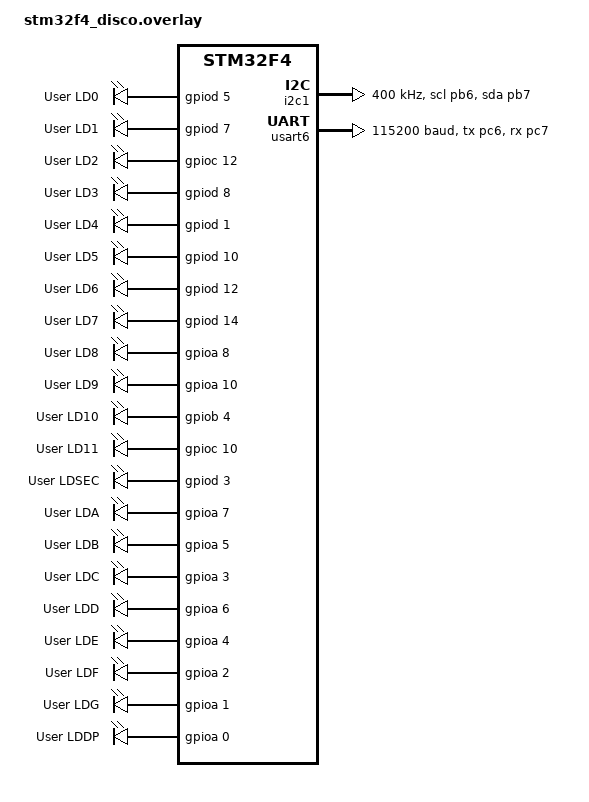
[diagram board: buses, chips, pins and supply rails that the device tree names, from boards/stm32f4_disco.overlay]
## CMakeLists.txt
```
# SPDX-License-Identifier: Apache-2.0

cmake_minimum_required(VERSION 3.20.0)
find_package(Zephyr REQUIRED HINTS $ENV{ZEPHYR_BASE})
project(traffic)

target_sources(app PRIVATE src/main.c)
```

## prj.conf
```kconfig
CONFIG_GPIO=y
CONFIG_COUNTER=y
CONFIG_I2C=y
CONFIG_STDOUT_CONSOLE=y
CONFIG_PRINTK=y
CONFIG_SHELL=y
```

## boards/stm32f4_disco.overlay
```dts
/ {
	chosen {
		zephyr,console = &usart6;
		zephyr,shell-uart = &usart6;
	};

	leds {
		led_0: led_0 {
			gpios = <&gpiod 5 GPIO_ACTIVE_HIGH>;
			label = "User LD0";
		};

		led_1: led_1 {
			gpios = <&gpiod 7 GPIO_ACTIVE_HIGH>;
			label = "User LD1";
		};

		led_2: led_2 {
			gpios = <&gpioc 12 GPIO_ACTIVE_HIGH>;
			label = "User LD2";
		};

		led_3: led_3 {
			gpios = <&gpiod 8 GPIO_ACTIVE_HIGH>;
			label = "User LD3";
		};

		led_4: led_4 {
			gpios = <&gpiod 1 GPIO_ACTIVE_HIGH>;
			label = "User LD4";
		};

		led_5: led_5 {
			gpios = <&gpiod 10 GPIO_ACTIVE_HIGH>;
			label = "User LD5";
		};

		led_6: led_6 {
			gpios = <&gpiod 12 GPIO_ACTIVE_HIGH>;
			label = "User LD6";
		};

		led_7: led_7 {
			gpios = <&gpiod 14 GPIO_ACTIVE_HIGH>;
			label = "User LD7";
		};

		led_8: led_8 {
			gpios = <&gpioa 8 GPIO_ACTIVE_HIGH>;
			label = "User LD8";
		};

		led_9: led_9 {
			gpios = <&gpioa 10 GPIO_ACTIVE_HIGH>;
			label = "User LD9";
		};

		led_10: led_10 {
			gpios = <&gpiob 4 GPIO_ACTIVE_HIGH>;
			label = "User LD10";
		};

		led_11: led_11 {
			gpios = <&gpioc 10 GPIO_ACTIVE_HIGH>;
			label = "User LD11";
		};

		led_sec: led_sec {
			gpios = <&gpiod 3 GPIO_ACTIVE_HIGH>;
			label = "User LDSEC";
		};

		led_a: led_a {
			gpios = <&gpioa 7 GPIO_ACTIVE_HIGH>;
			label = "User LDA";
		};

		led_b: led_b {
			gpios = <&gpioa 5 GPIO_ACTIVE_HIGH>;
			label = "User LDB";
		};

		led_c: led_c {
			gpios = <&gpioa 3 GPIO_ACTIVE_HIGH>;
			label = "User LDC";
		};

		led_d: led_d {
			gpios = <&gpioa 6 GPIO_ACTIVE_HIGH>;
			label = "User LDD";
		};

		led_e: led_e {
			gpios = <&gpioa 4 GPIO_ACTIVE_HIGH>;
			label = "User LDE";
		};

		led_f: led_f {
			gpios = <&gpioa 2 GPIO_ACTIVE_HIGH>;
			label = "User LDF";
		};

		led_g: led_g {
			gpios = <&gpioa 1 GPIO_ACTIVE_HIGH>;
			label = "User LDG";
		};

		led_dp: led_dp {
			gpios = <&gpioa 0 GPIO_ACTIVE_HIGH>;
			label = "User LDDP";
		};
	};

	aliases {
		led0 = &led_0;
		led1 = &led_1;
		led2 = &led_2;
		led3 = &led_3;
		led4 = &led_4;
		led5 = &led_5;
		led6 = &led_6;
		led7 = &led_7;
		led8 = &led_8;
		led9 = &led_9;
		led10 = &led_10;
		led11 = &led_11;
		leda = &led_a;
		ledb = &led_b;
		ledc = &led_c;
		ledd = &led_d;
		lede = &led_e;
		ledf = &led_f;
		ledg = &led_g;
		leddp = &led_dp;
		ledsec = &led_sec;
	};
};

&i2c1 {
	pinctrl-0 = <&i2c1_scl_pb6 &i2c1_sda_pb7>;
	pinctrl-names = "default";
	status = "okay";
	clock-frequency = <I2C_BITRATE_FAST>;
};

&usart6 {
	pinctrl-0 = <&usart6_tx_pc6 &usart6_rx_pc7>;
	pinctrl-names = "default";
	current-speed = <115200>;
	status = "okay";
};

&can2 {
	status = "disabled";
};

&usart1 {
	status = "disabled";
};
```

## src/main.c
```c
/*
 * Copyright (c) 2016 Intel Corporation
 *
 * SPDX-License-Identifier: Apache-2.0
 */

#include <zephyr.h>
#include <drivers/gpio.h>
#include <drivers/counter.h>
#include <drivers/i2c.h>
#include <string.h>
#include <shell/shell.h>

/* The devicetree node identifier for the "led0" alias. */
#define LED0_NODE	DT_ALIAS(led0)
#define LED1_NODE	DT_ALIAS(led1)
#define LED2_NODE	DT_ALIAS(led2)
#define LED3_NODE	DT_ALIAS(led3)
#define LED4_NODE	DT_ALIAS(led4)
#define LED5_NODE	DT_ALIAS(led5)
#define LED6_NODE	DT_ALIAS(led6)
#define LED7_NODE	DT_ALIAS(led7)
#define LED8_NODE	DT_ALIAS(led8)
#define LED9_NODE	DT_ALIAS(led9)
#define LED10_NODE	DT_ALIAS(led10)
#define LED11_NODE	DT_ALIAS(led11)
#define LEDA_NODE	DT_ALIAS(leda)
#define LEDB_NODE	DT_ALIAS(ledb)
#define LEDC_NODE	DT_ALIAS(ledc)
#define LEDD_NODE	DT_ALIAS(ledd)
#define LEDE_NODE	DT_ALIAS(lede)
#define LEDF_NODE	DT_ALIAS(ledf)
#define LEDG_NODE	DT_ALIAS(ledg)
#define LEDDP_NODE	DT_ALIAS(leddp)
#define LEDSEC_NODE	DT_ALIAS(ledsec)

#if DT_NODE_HAS_STATUS(DT_NODELABEL(i2c1), okay)
#define I2C_DEV_NAME	DT_LABEL(DT_NODELABEL(i2c1))
#else
#error "Please set the correct I2C device"
#endif

#define DELAY		1000000

#define CLEAR_7SEG	0xFF0000
#define ON_7SEG		1
#define OFF_7SEG	0
#define LED_MIN		0
#define LED_HOUR	1
#define LED_DATE	2
#define LED_MONTH	3
#define LED_YEAR	4

/* 1000 msec = 1 sec */
#define SLEEP_TIME_MS   10
/* 1 msec = 1000 usec */
#define WAIT_TIME_US   10

#define DS3231_I2C_ADDR	0x68
#define I2C_BITRATE_STANDARD	100000	/* 100 Kbit/s */
#define I2C_BITRATE_FAST	400000	/* 400 Kbit/s */

#define INIT_PREEMPT_PRIO 1
#define INIT_PREEMPT_OPTION (K_USER | K_INHERIT_PERMS)
#define STACK_SIZE	500
/*
 * A build error on this line means your board is unsupported.
 * See the sample documentation for information on how to fix this.
 */
static const struct gpio_dt_spec led0 = GPIO_DT_SPEC_GET(LED0_NODE, gpios);
static const struct gpio_dt_spec led1 = GPIO_DT_SPEC_GET(LED1_NODE, gpios);
static const struct gpio_dt_spec led2 = GPIO_DT_SPEC_GET(LED2_NODE, gpios);
static const struct gpio_dt_spec led3 = GPIO_DT_SPEC_GET(LED3_NODE, gpios);
static const struct gpio_dt_spec led4 = GPIO_DT_SPEC_GET(LED4_NODE, gpios);
static const struct gpio_dt_spec led5 = GPIO_DT_SPEC_GET(LED5_NODE, gpios);
static const struct gpio_dt_spec led6 = GPIO_DT_SPEC_GET(LED6_NODE, gpios);
static const struct gpio_dt_spec led7 = GPIO_DT_SPEC_GET(LED7_NODE, gpios);
static const struct gpio_dt_spec led8 = GPIO_DT_SPEC_GET(LED8_NODE, gpios);
static const struct gpio_dt_spec led9 = GPIO_DT_SPEC_GET(LED9_NODE, gpios);
static const struct gpio_dt_spec led10 = GPIO_DT_SPEC_GET(LED10_NODE, gpios);
static const struct gpio_dt_spec led11 = GPIO_DT_SPEC_GET(LED11_NODE, gpios);
static const struct gpio_dt_spec leda = GPIO_DT_SPEC_GET(LEDA_NODE, gpios);
static const struct gpio_dt_spec ledb = GPIO_DT_SPEC_GET(LEDB_NODE, gpios);
static const struct gpio_dt_spec ledc = GPIO_DT_SPEC_GET(LEDC_NODE, gpios);
static const struct gpio_dt_spec ledd = GPIO_DT_SPEC_GET(LEDD_NODE, gpios);
static const struct gpio_dt_spec lede = GPIO_DT_SPEC_GET(LEDE_NODE, gpios);
static const struct gpio_dt_spec ledf = GPIO_DT_SPEC_GET(LEDF_NODE, gpios);
static const struct gpio_dt_spec ledg = GPIO_DT_SPEC_GET(LEDG_NODE, gpios);
static const struct gpio_dt_spec ledsec = GPIO_DT_SPEC_GET(LEDSEC_NODE, gpios);

struct gpio_dt_spec led[12] = {led0, led1, led2, led3, led4, led5, led6, led7, led8, led9, led10, led11};

static const uint32_t decode_7seg[10] = {0x000300FC, 0x00D70028, 0x000D00F2, 0x001500EA, 0x00D1002E,	\
										 0x003100CE, 0x002100DE, 0x005700A8, 0x000100FE,0x401100EE};
const struct device *port_7seg;
const struct device *counter_dev;
const struct device *i2c_dev;

static uint8_t time_sec, time_min, time_hour, time_day, time_date, time_month, time_year;

static void thread_entry_7seg(void *p1, void *p2, void *p3);
static void thread_i2c_ds3231(void *p1, void *p2, void *p3);

K_THREAD_DEFINE(thread_1, STACK_SIZE, thread_entry_7seg,
				NULL, NULL, NULL, INIT_PREEMPT_PRIO, 2, 0);

K_THREAD_DEFINE(thread_3, STACK_SIZE, thread_i2c_ds3231,
				NULL, NULL, NULL, INIT_PREEMPT_PRIO, 0, 0);

static void led_7seg_turn_on(uint8_t num_led)
{

	for (size_t i = 0; i < 12; i++) {
		if (num_led == i) {
			gpio_pin_set(led[i].port, led[i].pin, ON_7SEG);
		}
		else
			gpio_pin_set(led[i].port, led[i].pin, OFF_7SEG);
	}
	
}

static int led_7seg_display(uint8_t cluster, uint8_t num)
{
	if (num >= 100) {
		return ENOTSUP;
	}
	// printk("7-segment display: %d\n", num);
	if (cluster == LED_MIN) {
		/* First number */
		led_7seg_turn_on(10);
		gpio_port_set_bits_raw(port_7seg, CLEAR_7SEG);
		gpio_port_set_bits_raw(port_7seg, decode_7seg[num / 10]);
		k_usleep(WAIT_TIME_US);
		/* Second number */
		led_7seg_turn_on(11);
		gpio_port_set_bits_raw(port_7seg, CLEAR_7SEG);
		gpio_port_set_bits_raw(port_7seg, decode_7seg[num % 10]);
		k_usleep(WAIT_TIME_US);
	}
	else if (cluster == LED_HOUR) {
		/* First number */
		led_7seg_turn_on(8);
		gpio_port_set_bits_raw(port_7seg, CLEAR_7SEG);
		gpio_port_set_bits_raw(port_7seg, decode_7seg[num / 10]);
		k_usleep(WAIT_TIME_US);
		/* Second number */
		led_7seg_turn_on(9);
		gpio_port_set_bits_raw(port_7seg, CLEAR_7SEG);
		gpio_port_set_bits_raw(port_7seg, decode_7seg[num % 10]);
		k_usleep(WAIT_TIME_US);
	}
	else if (cluster == LED_DATE) {
		/* First number */
		led_7seg_turn_on(7);
		gpio_port_set_bits_raw(port_7seg, CLEAR_7SEG);
		gpio_port_set_bits_raw(port_7seg, decode_7seg[num / 10]);
		k_usleep(WAIT_TIME_US);
		/* Second number */
		led_7seg_turn_on(6);
		gpio_port_set_bits_raw(port_7seg, CLEAR_7SEG);
		gpio_port_set_bits_raw(port_7seg, decode_7seg[num % 10]);
		k_usleep(WAIT_TIME_US);
	}
	else if (cluster == LED_MONTH) {
		/* First number */
		led_7seg_turn_on(2);
		gpio_port_set_bits_raw(port_7seg, CLEAR_7SEG);
		gpio_port_set_bits_raw(port_7seg, decode_7seg[num / 10]);
		k_usleep(WAIT_TIME_US);
		/* Second number */
		led_7seg_turn_on(3);
		gpio_port_set_bits_raw(port_7seg, CLEAR_7SEG);
		gpio_port_set_bits_raw(port_7seg, decode_7seg[num % 10]);
		k_usleep(WAIT_TIME_US);
	}
	else if (cluster == LED_YEAR) {
		/* First number */
		led_7seg_turn_on(4);
		gpio_port_set_bits_raw(port_7seg, CLEAR_7SEG);
		gpio_port_set_bits_raw(port_7seg, decode_7seg[2]);
		k_usleep(WAIT_TIME_US);
		/* Second number */
		led_7seg_turn_on(5);
		gpio_port_set_bits_raw(port_7seg, CLEAR_7SEG);
		gpio_port_set_bits_raw(port_7seg, decode_7seg[0]);
		k_usleep(WAIT_TIME_US);

		led_7seg_turn_on(0);
		gpio_port_set_bits_raw(port_7seg, CLEAR_7SEG);
		gpio_port_set_bits_raw(port_7seg, decode_7seg[num / 10]);
		k_usleep(WAIT_TIME_US);

		led_7seg_turn_on(1);
		gpio_port_set_bits_raw(port_7seg, CLEAR_7SEG);
		gpio_port_set_bits_raw(port_7seg, decode_7seg[num % 10]);
		k_usleep(WAIT_TIME_US);
	}
	else {
		return -EINVAL;
	}
	return 0;
}

static void thread_entry_7seg(void *p1, void *p2, void *p3)
{
	if (!device_is_ready(ledb.port)) {
		return;
	}

	static uint8_t tem_sec_old = 0;
	gpio_pin_configure_dt(&led0, GPIO_OUTPUT_INACTIVE);
	gpio_pin_configure_dt(&led1, GPIO_OUTPUT_INACTIVE);
	gpio_pin_configure_dt(&led2, GPIO_OUTPUT_INACTIVE);
	gpio_pin_configure_dt(&led3, GPIO_OUTPUT_INACTIVE);
	gpio_pin_configure_dt(&led4, GPIO_OUTPUT_INACTIVE);
	gpio_pin_configure_dt(&led5, GPIO_OUTPUT_INACTIVE);
	gpio_pin_configure_dt(&led6, GPIO_OUTPUT_INACTIVE);
	gpio_pin_configure_dt(&led7, GPIO_OUTPUT_INACTIVE);
	gpio_pin_configure_dt(&led8, GPIO_OUTPUT_INACTIVE);
	gpio_pin_configure_dt(&led9, GPIO_OUTPUT_INACTIVE);
	gpio_pin_configure_dt(&led10, GPIO_OUTPUT_INACTIVE);
	gpio_pin_configure_dt(&led11, GPIO_OUTPUT_INACTIVE);
	gpio_pin_configure_dt(&ledsec, GPIO_OUTPUT_INACTIVE);
	gpio_pin_configure_dt(&leda, GPIO_OUTPUT_INACTIVE);
	gpio_pin_configure_dt(&ledb, GPIO_OUTPUT_INACTIVE);
	gpio_pin_configure_dt(&ledc, GPIO_OUTPUT_INACTIVE);
	gpio_pin_configure_dt(&ledd, GPIO_OUTPUT_INACTIVE);
	gpio_pin_configure_dt(&lede, GPIO_OUTPUT_INACTIVE);
	gpio_pin_configure_dt(&ledf, GPIO_OUTPUT_INACTIVE);
	gpio_pin_configure_dt(&ledg, GPIO_OUTPUT_INACTIVE);

	gpio_pin_set(led0.port, led0.pin, OFF_7SEG);
	gpio_pin_set(led1.port, led1.pin, OFF_7SEG);
	gpio_pin_set(led2.port, led2.pin, OFF_7SEG);
	gpio_pin_set(led3.port, led3.pin, OFF_7SEG);
	gpio_pin_set(led4.port, led4.pin, OFF_7SEG);
	gpio_pin_set(led5.port, led5.pin, OFF_7SEG);
	gpio_pin_set(led6.port, led6.pin, OFF_7SEG);
	gpio_pin_set(led7.port, led7.pin, OFF_7SEG);
	gpio_pin_set(led8.port, led8.pin, OFF_7SEG);
	gpio_pin_set(led9.port, led9.pin, OFF_7SEG);
	gpio_pin_set(led10.port, led10.pin, OFF_7SEG);
	gpio_pin_set(led11.port, led11.pin, OFF_7SEG);
	gpio_pin_set(ledsec.port, ledsec.pin, OFF_7SEG);
	port_7seg = led8.port;

	while (1) {
		if (tem_sec_old != time_sec) {
			gpio_pin_toggle(ledsec.port, ledsec.pin);
			tem_sec_old = time_sec;
		}

		led_7seg_display(LED_MIN, time_min);
		led_7seg_display(LED_HOUR, time_hour);
		led_7seg_display(LED_DATE, time_date);
		led_7seg_display(LED_MONTH, time_month);
		led_7seg_display(LED_YEAR, time_year);
		k_msleep(2);
	}
}

uint8_t DECtoBCD(uint8_t DEC)
{
    uint8_t reg_low, reg_hight;

	reg_low = DEC % 10;
    reg_hight = (DEC / 10) << 4;

    return(reg_hight + reg_low);
}

uint8_t BCDtoDEC(uint8_t BCD)
{
    uint8_t reg_low, reg_hight;

    reg_low = BCD & 0x0F;
    reg_hight = (BCD >> 4) * 10;

    return(reg_hight + reg_low);
}

static void thread_i2c_ds3231(void *p1, void *p2, void *p3)
{
	int ret;
	uint8_t data[7];

	while (1) {
		(void)memset(data, 0, sizeof(data));
		ret = i2c_burst_read(i2c_dev, DS3231_I2C_ADDR, 0x00, data, sizeof(data));
		if (ret) {
			printk("Error reading time from DS3231! error code (%d)\n", ret);
		}
		else {
			time_sec = BCDtoDEC(data[0]);
			time_min = BCDtoDEC(data[1]);
			time_hour = BCDtoDEC(data[2]);
			time_day = BCDtoDEC(data[3]);
			time_date = BCDtoDEC(data[4]);
			time_month = BCDtoDEC(data[5]);
			time_year = BCDtoDEC(data[6]);
		}

		k_msleep(200);
	}
}

#ifdef CONFIG_SHELL
static int cmd_ds3231_time(const struct shell *shell, size_t argc, char **argv)
{
	ARG_UNUSED(argc);
	ARG_UNUSED(argv);
	char *day_arr[6] = {"Sunday", "Monday", "Tuesday", "Wednesday", "Thursday", "Friday", "Saturday"};

	shell_print(shell, "Day: %s", day_arr[time_day - 1]);
	shell_print(shell, "Time: %zd : %zd : %zd", time_hour, time_min, time_sec);
	shell_print(shell, "Date: %zd : %zd : 20%zd", time_date, time_month, time_year);

	return 0;
}


static int cmd_ds3231_set_time(const struct shell *shell, size_t argc, char **argv)
{
	char *day_arr[6] = {"Sunday", "Monday", "Tuesday", "Wednesday", "Thursday", "Friday", "Saturday"};
	// for (size_t cnt = 0; cnt < argc; cnt++) {
	// 	if (!strcmp(argv[cnt], '-p')) {
	// 		int min = convert_string_to_int(argv[cnt]);
	// 		if (i2c_burst_write(i2c_dev, DS3231_I2C_ADDR, 0x01, min, 1)) {
	// 			printk("Fail to write\n");
	// 		}
	// 	}
	// 	else if (!strcmp(argv[cnt], '-g')) {
	// 		int hour = convert_string_to_int(argv[cnt + 1]);
	// 		if (i2c_burst_write(i2c_dev, DS3231_I2C_ADDR, 0x02, hour, 1)) {
	// 			printk("Fail to write\n");
	// 		}
	// 	}
	// 	else if (!strcmp(argv[cnt], '-d')) {
	// 		int day = convert_string_to_int(argv[cnt + 1]);
	// 		if (i2c_burst_write(i2c_dev, DS3231_I2C_ADDR, 0x04, day, 1)) {
	// 			printk("Fail to write\n");
	// 		}
	// 	}		
	// 	else if (!strcmp(argv[cnt], '-m')) {
	// 		int month = convert_string_to_int(argv[cnt + 1]);
	// 		if (i2c_burst_write(i2c_dev, DS3231_I2C_ADDR, 0x05, month, 1)) {
	// 			printk("Fail to write\n");
	// 		}
	// 	}
	// 	else if (!strcmp(argv[cnt], '-y')) {
	// 		int year = convert_string_to_int(argv[cnt + 1]);
	// 		if (i2c_burst_write(i2c_dev, DS3231_I2C_ADDR, 0x06, year, 1)) {
	// 			printk("Fail to write\n");
	// 		}
	// 	}
	// 	else
	// 		shell_print(shell, "  argv[%zd] = %s", cnt, argv[cnt]);	
	// }

	uint8_t data[7];
	(void)memset(data, 0, sizeof(data));
	data[0] = DECtoBCD(0);
	data[1] = DECtoBCD(50);
	data[2] = DECtoBCD(0);
	data[3] = DECtoBCD(4);
	data[4] = DECtoBCD(28);
	data[5] = DECtoBCD(4);
	data[6] = DECtoBCD(22);
	if (i2c_burst_write(i2c_dev, DS3231_I2C_ADDR, 0x00, data, sizeof(data))) {
		printk("Fail to write\n");
	}

	shell_print(shell, "Day: %s", day_arr[time_day - 1]);
	shell_print(shell, "Time: %zd : %zd : %zd", time_hour, time_min, time_sec);
	shell_print(shell, "Date: %zd/ %zd/ 20%zd", time_date, time_month, time_year);

	return 0;
}

SHELL_STATIC_SUBCMD_SET_CREATE(sub_demo,
	SHELL_CMD(time, NULL, "Show time command.", cmd_ds3231_time),
	SHELL_CMD(set_time, NULL, "Show time command.", cmd_ds3231_set_time),
	SHELL_SUBCMD_SET_END /* Array terminated. */
);

SHELL_CMD_REGISTER(ds3231, &sub_demo, "DS3231 commands", NULL);

#endif

void main(void)
{
	i2c_dev = device_get_binding(I2C_DEV_NAME);
	if (!device_is_ready(i2c_dev)) {
		printk("I2C: Device is not ready\n");
		return;
	}
	uint32_t i2c_cfg = I2C_SPEED_SET(I2C_BITRATE_FAST) | I2C_MODE_MASTER;
	i2c_configure(i2c_dev, i2c_cfg);
	printk("\t--HUST Traffic Lights--\n");
}
```
